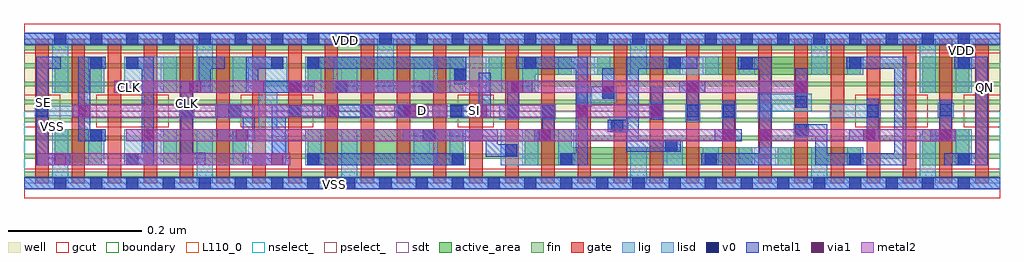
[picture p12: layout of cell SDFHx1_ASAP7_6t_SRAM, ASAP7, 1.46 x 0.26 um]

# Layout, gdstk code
import gdstk
lib = gdstk.Library(unit=1e-6, precision=2.5e-10)
def R(c, l, rs):  # rectangles x0, y0, x1, y1
    for r in rs: c.add(gdstk.rectangle(r[:2], r[2:], *l))
def A(c, l, x, y, w, h, nx, ny, dx, dy):  # array of equal rectangles
    R(c, l, [(x+i*dx, y+j*dy, x+i*dx+w, y+j*dy+h) for i in range(nx) for j in range(ny)])
def P(c, l, *ps):  # polygons
    for p in ps: c.add(gdstk.Polygon(p, *l))
well = (1, 0)
fin = (2, 0)
gate = (7, 0)
gcut = (10, 0)
active_area = (11, 0)
nselect_ = (12, 0)
pselect_ = (13, 0)
lig = (16, 0)
lisd = (17, 0)
v0 = (18, 0)
metal1 = (19, 0)
metal2 = (20, 0)
via1 = (21, 0)
sdt = (88, 0)
boundary = (100, 0)
L110_0 = (110, 0)

sdfhx1_asap7_6t_sram = lib.new_cell('SDFHx1_ASAP7_6t_SRAM')
R(sdfhx1_asap7_6t_sram, well, [(0,0.108,1.458,0.216)])
A(sdfhx1_asap7_6t_sram, fin, 0, 0.01, 1.458, 0.007, 1, 8, 0, 0.027)
A(sdfhx1_asap7_6t_sram, gate, 0.017, 0, 0.02, 0.216, 27, 1, 0.054, 0)
R(sdfhx1_asap7_6t_sram, gcut, [(0,-0.022,1.458,0.022), (0,0.084,0.054,0.132), (0.108,0.084,0.216,0.132), (0.324,0.084,0.432,0.132), (0.648,0.084,0.702,0.132), (1.242,0.084,1.35,0.132), (1.404,0.084,1.458,0.132), (0,0.194,1.458,0.238)])
R(sdfhx1_asap7_6t_sram, active_area, [(0.046,0.027,0.116,0.081), (0.208,0.027,0.332,0.081), (0.424,0.027,0.656,0.081), (1.126,0.027,1.25,0.054), (1.342,0.027,1.412,0.081), (0.046,0.135,0.116,0.189), (0.208,0.135,0.332,0.189), (0.424,0.135,0.656,0.189), (1.342,0.135,1.412,0.189), (0.856,0.162,0.98,0.189), (1.018,0.162,1.25,0.189)])
P(sdfhx1_asap7_6t_sram, active_area, [(1.088,0.054),(0.818,0.054),(0.818,0.081),(0.748,0.081),(0.748,0.027),(1.088,0.027)],
  [(0.818,0.189),(0.694,0.189),(0.694,0.135),(0.764,0.135),(0.764,0.162),(0.818,0.162)])
R(sdfhx1_asap7_6t_sram, nselect_, [(0,0,1.458,0.108)])
R(sdfhx1_asap7_6t_sram, pselect_, [(0,0.108,1.458,0.216)])
R(sdfhx1_asap7_6t_sram, lig, [(0,-0.008,1.458,0.008), (1.15,0.069,1.172,0.089), (0.875,0.076,0.903,0.099), (0.988,0.092,1.01,0.118), (0.71,0.096,0.74,0.118), (0.772,0.096,0.794,0.118), (0.232,0.097,0.254,0.119), (0.286,0.097,0.324,0.119), (0.502,0.097,0.524,0.119), (0.556,0.097,0.578,0.119), (1.042,0.097,1.064,0.119), (1.096,0.097,1.118,0.119), (0.934,0.098,0.956,0.121), (1.204,0.098,1.28,0.118), (1.365,0.098,1.389,0.12), (0.016,0.1,0.093,0.116), (0.394,0.1,0.47,0.116), (0.61,0.1,0.657,0.116), (0.826,0.114,0.848,0.144), (0,0.208,1.458,0.224)])
A(sdfhx1_asap7_6t_sram, lisd, 0.042, 0, 0.024, 0.081, 3, 1, 0.216, 0)
A(sdfhx1_asap7_6t_sram, lisd, 0.096, 0.135, 0.024, 0.054, 3, 1, 0.324, 0)
R(sdfhx1_asap7_6t_sram, lisd, [(0.906,0,0.93,0.054), (1.176,0,1.2,0.054), (1.338,0,1.362,0.081), (0.096,0.027,0.12,0.081), (0.15,0.027,0.228,0.081), (0.42,0.027,0.444,0.081), (0.582,0.027,0.618,0.081), (0.636,0.027,0.66,0.081), (0.712,0.027,0.768,0.081), (0.798,0.027,0.822,0.081), (0.955,0.027,0.984,0.065), (1.014,0.027,1.038,0.054), (1.068,0.027,1.146,0.054), (1.23,0.027,1.254,0.054), (1.392,0.027,1.416,0.081), (1.096,0.108,1.177,0.134), (0.826,0.12,0.885,0.144), (0.042,0.135,0.066,0.216), (0.15,0.135,0.228,0.189), (0.258,0.135,0.282,0.216), (0.462,0.135,0.498,0.189), (0.528,0.135,0.552,0.216), (0.582,0.135,0.618,0.189), (0.636,0.135,0.714,0.189), (1.338,0.135,1.362,0.216), (1.392,0.135,1.416,0.189), (0.798,0.162,0.876,0.189), (0.906,0.162,0.93,0.216), (0.96,0.162,1.038,0.189), (1.068,0.162,1.092,0.189), (1.176,0.162,1.2,0.216), (1.23,0.162,1.254,0.189)])
P(sdfhx1_asap7_6t_sram, lisd, [(0.393,0.081),(0.378,0.081),(0.378,0.135),(0.393,0.135),(0.393,0.189),(0.312,0.189),(0.312,0.135),(0.351,0.135),(0.351,0.081),(0.312,0.081),(0.312,0.027),(0.393,0.027)])
A(sdfhx1_asap7_6t_sram, v0, 0.045, -0.009, 0.018, 0.018, 26, 2, 0.054, 0.216)
A(sdfhx1_asap7_6t_sram, v0, 0.801, 0.027, 0.018, 0.018, 3, 1, 0.216, 0)
R(sdfhx1_asap7_6t_sram, v0, [(0.153,0.027,0.171,0.045), (0.423,0.027,0.441,0.045), (0.639,0.027,0.657,0.045), (1.395,0.027,1.413,0.045), (0.719,0.04,0.737,0.058), (0.958,0.047,0.976,0.065), (0.099,0.063,0.117,0.081), (0.596,0.063,0.614,0.081), (1.152,0.07,1.17,0.088), (0.877,0.077,0.895,0.095), (0.722,0.098,0.74,0.116), (0.774,0.098,0.792,0.116), (0.018,0.099,0.036,0.117), (0.234,0.099,0.252,0.117), (0.305,0.099,0.323,0.117), (0.396,0.099,0.414,0.117), (0.504,0.099,0.522,0.117), (0.558,0.099,0.576,0.117), (0.637,0.099,0.655,0.117), (0.99,0.099,1.008,0.117), (1.044,0.099,1.062,0.117), (1.259,0.099,1.277,0.117), (1.368,0.1,1.386,0.118), (0.936,0.101,0.954,0.119), (1.152,0.113,1.17,0.131), (0.864,0.126,0.882,0.144), (0.465,0.135,0.483,0.153), (0.594,0.135,0.612,0.153), (0.643,0.153,0.661,0.171), (1.071,0.17,1.089,0.188), (0.099,0.171,0.117,0.189), (0.153,0.171,0.171,0.189), (0.369,0.171,0.387,0.189), (0.423,0.171,0.441,0.189), (0.747,0.171,0.765,0.189), (0.963,0.171,0.981,0.189), (1.233,0.171,1.251,0.189), (1.395,0.171,1.413,0.189)])
R(sdfhx1_asap7_6t_sram, metal1, [(0,-0.009,1.458,0.009), (0.423,0.027,0.657,0.045), (0.936,0.095,0.954,0.144), (0.445,0.099,0.522,0.117), (0.553,0.099,0.604,0.117), (1.152,0.113,1.17,0.172), (0.864,0.126,0.882,0.172), (0.465,0.135,0.612,0.153), (0,0.207,1.458,0.225)])
P(sdfhx1_asap7_6t_sram, metal1, [(1.44,0.189),(1.39,0.189),(1.39,0.171),(1.422,0.171),(1.422,0.045),(1.375,0.045),(1.375,0.027),(1.44,0.027)],
  [(1.391,0.081),(1.386,0.081),(1.386,0.125),(1.368,0.125),(1.368,0.081),(1.354,0.081),(1.354,0.063),(1.391,0.063)],
  [(1.318,0.189),(1.228,0.189),(1.228,0.171),(1.3,0.171),(1.3,0.045),(1.2,0.045),(1.2,0.088),(1.152,0.088),(1.152,0.07),(1.182,0.07),(1.182,0.027),(1.318,0.027)],
  [(1.277,0.126),(1.259,0.126),(1.259,0.081),(1.233,0.081),(1.233,0.063),(1.277,0.063)],
  [(1.116,0.188),(1.066,0.188),(1.066,0.17),(1.098,0.17),(1.098,0.045),(1.012,0.045),(1.012,0.027),(1.116,0.027)],
  [(1.072,0.081),(1.062,0.081),(1.062,0.123),(1.044,0.123),(1.044,0.081),(1.032,0.081),(1.032,0.063),(1.072,0.063)],
  [(1.018,0.153),(0.979,0.153),(0.979,0.135),(0.99,0.135),(0.99,0.094),(1.008,0.094),(1.008,0.135),(1.018,0.135)],
  [(1.006,0.189),(0.9,0.189),(0.9,0.095),(0.872,0.095),(0.872,0.077),(0.9,0.077),(0.9,0.047),(0.981,0.047),(0.981,0.065),(0.918,0.065),(0.918,0.171),(1.006,0.171)],
  [(0.842,0.189),(0.735,0.189),(0.735,0.171),(0.824,0.171),(0.824,0.045),(0.801,0.045),(0.801,0.027),(0.842,0.027)],
  [(0.792,0.116),(0.774,0.116),(0.774,0.081),(0.762,0.081),(0.762,0.063),(0.792,0.063)],
  [(0.759,0.153),(0.722,0.153),(0.722,0.098),(0.74,0.098),(0.74,0.135),(0.759,0.135)],
  [(0.737,0.058),(0.708,0.058),(0.708,0.081),(0.566,0.081),(0.566,0.063),(0.69,0.063),(0.69,0.04),(0.737,0.04)],
  [(0.661,0.189),(0.423,0.189),(0.423,0.171),(0.643,0.171),(0.643,0.148),(0.661,0.148)],
  [(0.434,0.153),(0.35,0.153),(0.35,0.171),(0.387,0.171),(0.387,0.189),(0.332,0.189),(0.332,0.135),(0.434,0.135)],
  [(0.414,0.117),(0.37,0.117),(0.37,0.045),(0.327,0.045),(0.327,0.027),(0.391,0.027),(0.391,0.099),(0.414,0.099)],
  [(0.345,0.117),(0.289,0.117),(0.289,0.099),(0.327,0.099),(0.327,0.081),(0.289,0.081),(0.289,0.063),(0.345,0.063)],
  [(0.697,0.165),(0.679,0.165),(0.679,0.117),(0.637,0.117),(0.637,0.099),(0.697,0.099)],
  [(0.3,0.189),(0.261,0.189),(0.261,0.153),(0.234,0.153),(0.234,0.027),(0.271,0.027),(0.271,0.046),(0.252,0.046),(0.252,0.135),(0.279,0.135),(0.279,0.171),(0.3,0.171)],
  [(0.194,0.189),(0.153,0.189),(0.153,0.171),(0.176,0.171),(0.176,0.045),(0.153,0.045),(0.153,0.027),(0.194,0.027)],
  [(0.122,0.081),(0.099,0.081),(0.099,0.171),(0.122,0.171),(0.122,0.189),(0.081,0.189),(0.081,0.063),(0.122,0.063)],
  [(0.069,0.045),(0.036,0.045),(0.036,0.171),(0.055,0.171),(0.055,0.189),(0.018,0.189),(0.018,0.027),(0.069,0.027)])
A(sdfhx1_asap7_6t_sram, metal2, 0.502, 0.099, 0.13, 0.018, 3, 1, 0.161, 0)
R(sdfhx1_asap7_6t_sram, metal2, [(0.02,0.027,0.398,0.045), (0.153,0.063,1.062,0.081), (1.098,0.063,1.391,0.081), (0.073,0.099,0.47,0.117), (0.135,0.135,0.358,0.153), (0.396,0.135,1.17,0.153)])
R(sdfhx1_asap7_6t_sram, via1, [(0.045,0.027,0.063,0.045), (0.369,0.027,0.387,0.045), (0.176,0.063,0.194,0.081), (0.316,0.063,0.334,0.081), (0.769,0.063,0.787,0.081), (1.044,0.063,1.062,0.081), (1.098,0.063,1.116,0.081), (1.254,0.063,1.272,0.081), (1.368,0.063,1.386,0.081), (0.081,0.099,0.099,0.117), (0.452,0.099,0.47,0.117), (0.567,0.099,0.585,0.117), (0.673,0.099,0.691,0.117), (0.824,0.099,0.842,0.117), (0.936,0.099,0.954,0.117), (0.247,0.135,0.265,0.153), (0.396,0.135,0.414,0.153), (0.728,0.135,0.746,0.153), (0.864,0.135,0.882,0.153), (0.99,0.135,1.008,0.153), (1.152,0.135,1.17,0.153)])
A(sdfhx1_asap7_6t_sram, sdt, 0.204, 0.027, 0.024, 0.054, 3, 2, 0.054, 0.108)
A(sdfhx1_asap7_6t_sram, sdt, 0.906, 0.027, 0.024, 0.027, 7, 1, 0.054, 0)
A(sdfhx1_asap7_6t_sram, sdt, 0.42, 0.135, 0.024, 0.054, 7, 1, 0.054, 0)
A(sdfhx1_asap7_6t_sram, sdt, 0.798, 0.162, 0.024, 0.027, 6, 1, 0.054, 0)
R(sdfhx1_asap7_6t_sram, sdt, [(0.042,0.027,0.066,0.081), (0.096,0.027,0.12,0.081), (0.42,0.027,0.444,0.081), (0.474,0.027,0.498,0.081), (0.582,0.027,0.606,0.081), (0.636,0.027,0.66,0.081), (0.744,0.027,0.768,0.081), (0.798,0.027,0.822,0.081), (1.338,0.027,1.362,0.081), (1.392,0.027,1.416,0.081), (0.042,0.135,0.066,0.189), (0.096,0.135,0.12,0.189), (1.338,0.135,1.362,0.189), (1.392,0.135,1.416,0.189), (1.176,0.162,1.2,0.189), (1.23,0.162,1.254,0.189)])
R(sdfhx1_asap7_6t_sram, boundary, [(0,0,1.458,0.216)])
R(sdfhx1_asap7_6t_sram, L110_0, [(0,0,1.458,0.216)])
sdfhx1_asap7_6t_sram.add(gdstk.Label('VDD', (1.4,0.198), layer=1, texttype=251))
sdfhx1_asap7_6t_sram.add(gdstk.Label('VSS', (0.464,-0.002), layer=19, texttype=251))
sdfhx1_asap7_6t_sram.add(gdstk.Label('VDD', (0.48,0.214), layer=19, texttype=251))
sdfhx1_asap7_6t_sram.add(gdstk.Label('QN', (1.435,0.143), layer=19, texttype=251))
sdfhx1_asap7_6t_sram.add(gdstk.Label('CLK', (0.244,0.119), layer=19, texttype=251))
sdfhx1_asap7_6t_sram.add(gdstk.Label('SE', (0.029,0.121), layer=19, texttype=251))
sdfhx1_asap7_6t_sram.add(gdstk.Label('VSS', (0.043,0.085), layer=3, texttype=251))
sdfhx1_asap7_6t_sram.add(gdstk.Label('CLK', (0.158,0.143), layer=20, texttype=251))
sdfhx1_asap7_6t_sram.add(gdstk.Label('D', (0.595,0.109), layer=20, texttype=251))
sdfhx1_asap7_6t_sram.add(gdstk.Label('SI', (0.673,0.109), layer=20, texttype=251))

lib.write_gds('SDFHx1_ASAP7_6t_SRAM.gds')
